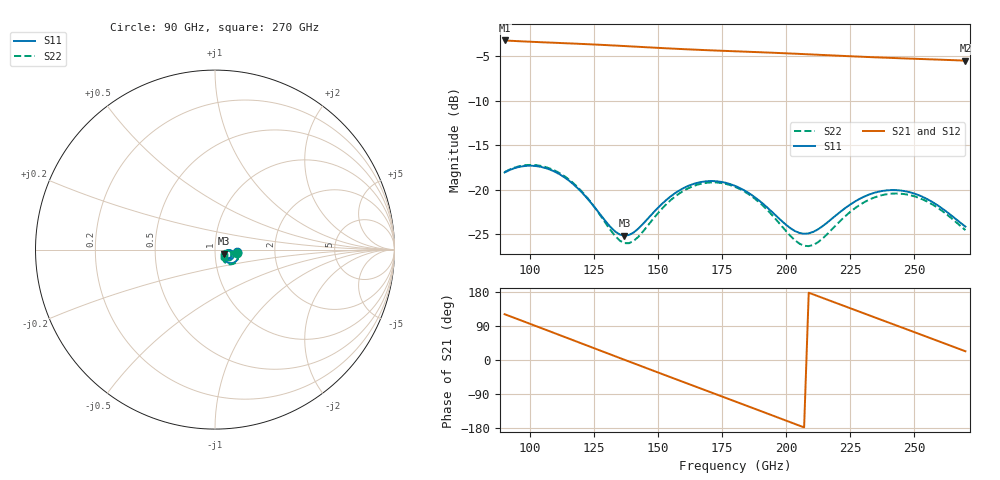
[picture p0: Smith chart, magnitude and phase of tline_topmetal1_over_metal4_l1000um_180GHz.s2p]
#  GHZ S DB R 50
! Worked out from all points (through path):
!   101 points, 90 GHz to 270 GHz, reference 50 ohm
!   highest |S21| = -3.23 dB at 90 GHz (marker M1); lowest = -5.5 dB at 270 GHz (marker M2)
!   group delay of S21, straight-line fit = 7.06 ps
!   lowest |S11| = -25.2 dB at 136.8 GHz (marker M3), VSWR 1.12, Z = 55.2 - j2.48 ohm
!   |S11| at or under -10 dB: start of sweep to end of sweep
!   |S22| runs from -26.4 to -17.2 dB; largest |S21 - S12| = 7.6e-14
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90  -18.08 -7.4  -3.23 120.9  -3.23 120.9  -18.04 -9.0
97.2  -17.37 -17.6  -3.34 102.5  -3.34 102.5  -17.29 -19.6
104.4  -17.46 -28.3  -3.43 84.0  -3.43 84.0  -17.35 -30.9
111.6  -18.30 -38.2  -3.52 65.5  -3.52 65.5  -18.17 -41.6
120.6  -20.45 -46.4  -3.63 42.3  -3.63 42.3  -20.36 -51.4
129.6  -23.62 -42.6  -3.75 19.1  -3.75 19.1  -23.84 -49.7
136.8  -25.19 -24.0  -3.86 0.6  -3.86 0.6  -26.02 -30.3
142.2  -24.40 -9.2  -3.94 -13.2  -3.94 -13.2  -25.33 -12.2
151.2  -21.68 -1.7  -4.08 -36.1  -4.08 -36.1  -22.23 -2.7
158.4  -20.07 -6.0  -4.19 -54.4  -4.19 -54.4  -20.41 -7.1
165.6  -19.22 -13.7  -4.28 -72.6  -4.28 -72.6  -19.43 -15.5
172.8  -19.07 -22.6  -4.37 -90.9  -4.37 -90.9  -19.21 -25.2
180  -19.58 -31.1  -4.45 -109.2  -4.45 -109.2  -19.69 -34.7
187.2  -20.75 -37.5  -4.53 -127.5  -4.53 -127.5  -20.90 -42.5
196.2  -22.98 -38.5  -4.63 -150.4  -4.63 -150.4  -23.42 -45.7
205.2  -24.88 -25.7  -4.74 -173.3  -4.74 -173.3  -26.09 -32.5
210.6  -24.75 -14.2  -4.82 173.0  -4.82 173.0  -26.23 -17.4
217.8  -23.29 -5.1  -4.91 154.8  -4.91 154.8  -24.49 -4.6
226.8  -21.35 -5.7  -5.03 132.1  -5.03 132.1  -22.11 -4.3
241.2  -20.06 -19.1  -5.20 95.8  -5.20 95.8  -20.46 -18.5
253.8  -20.89 -31.8  -5.33 64.0  -5.33 64.0  -21.17 -32.4
270  -24.16 -33.5  -5.50 23.1  -5.50 23.1  -24.56 -35.6
